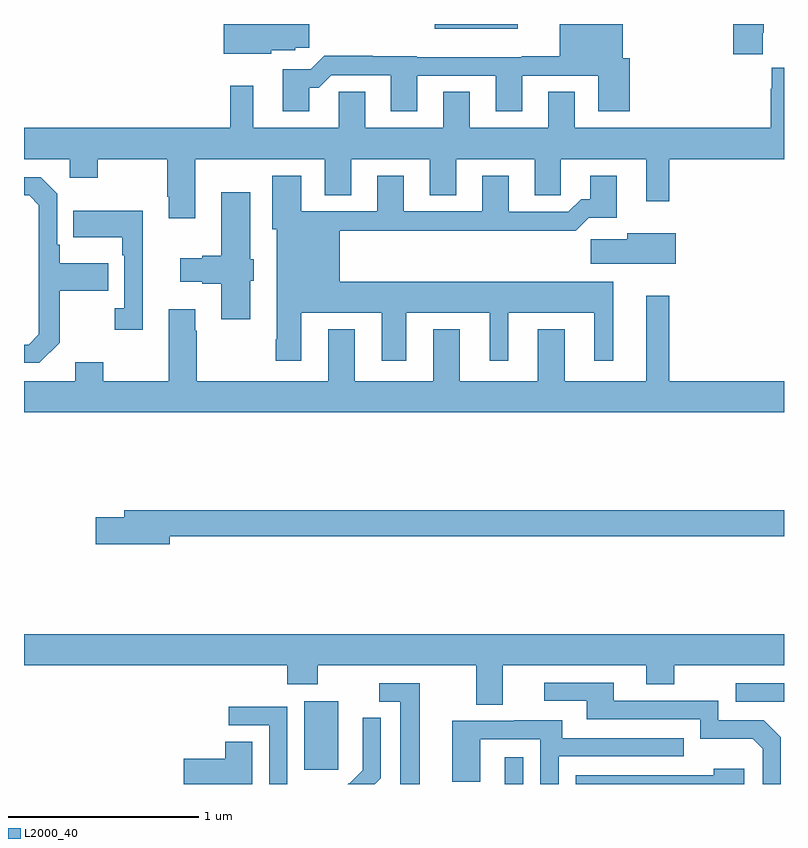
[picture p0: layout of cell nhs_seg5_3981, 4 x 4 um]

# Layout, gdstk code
import gdstk
lib = gdstk.Library(unit=1e-6, precision=1e-09)
def R(c, l, rs):  # rectangles x0, y0, x1, y1
    for r in rs: c.add(gdstk.rectangle(r[:2], r[2:], *l))
def P(c, l, *ps):  # polygons
    for p in ps: c.add(gdstk.Polygon(p, *l))
L2000_40 = (2000, 40)

nhs_seg5_3981 = lib.new_cell('nhs_seg5_3981')
R(nhs_seg5_3981, L2000_40, [(347.531,858.799,347.628,858.94), (346.475,858.873,346.654,859.234), (348.747,859.233,349,859.329), (347.162,862.775,347.599,862.799)])
P(nhs_seg5_3981, L2000_40, [(348.889,862.753),(348.894,862.753),(348.894,862.799),(348.734,862.799),(348.734,862.641),(348.889,862.641)],
  [(346.501,862.463),(346.55,862.463),(346.617,862.53),(346.931,862.53),(346.931,862.341),(347.071,862.341),(347.071,862.527),(347.483,862.527),(347.483,862.341),(347.623,862.341),(347.623,862.527),(348.023,862.527),(348.023,862.341),(348.188,862.341),(348.188,862.62),(348.151,862.62),(348.151,862.799),(347.819,862.799),(347.819,862.628),(347.619,862.628),(347.619,862.624),(347.067,862.624),(347.067,862.628),(346.835,862.628),(346.835,862.631),(346.58,862.631),(346.509,862.56),(346.361,862.56),(346.361,862.341),(346.501,862.341)],
  [(346.302,862.661),(346.428,862.661),(346.428,862.675),(346.501,862.675),(346.501,862.799),(346.052,862.799),(346.052,862.643),(346.302,862.643)],
  [(345.901,862.088),(346.583,862.088),(346.583,861.898),(346.723,861.898),(346.723,862.088),(347.135,862.088),(347.135,861.898),(347.275,861.898),(347.275,862.088),(347.687,862.088),(347.687,861.898),(347.826,861.898),(347.826,862.088),(348.275,862.088),(348.275,861.867),(348.397,861.867),(348.397,862.088),(349,862.088),(349,862.57),(348.935,862.57),(348.935,862.457),(348.929,862.457),(348.929,862.252),(347.899,862.252),(347.899,862.442),(347.759,862.442),(347.759,862.252),(347.347,862.252),(347.347,862.442),(347.207,862.442),(347.207,862.252),(346.795,862.252),(346.795,862.442),(346.656,862.442),(346.656,862.252),(346.207,862.252),(346.207,862.474),(346.086,862.474),(346.086,862.252),(345,862.252),(345,862.088),(345.24,862.088),(345.24,861.989),(345.387,861.989),(345.387,862.088),(345.754,862.088),(345.754,861.889),(345.761,861.889),(345.761,861.777),(345.901,861.777)],
  [(346.459,861.278),(346.883,861.278),(346.883,861.027),(347.011,861.027),(347.011,861.278),(347.45,861.278),(347.45,861.027),(347.548,861.027),(347.548,861.278),(348.002,861.278),(348.002,861.027),(348.1,861.027),(348.1,861.442),(346.663,861.442),(346.663,861.712),(347.647,861.712),(347.647,861.71),(347.903,861.71),(347.972,861.779),(348.121,861.779),(348.121,862),(347.981,862),(347.981,861.877),(347.932,861.877),(347.865,861.81),(347.551,861.81),(347.551,862),(347.411,862),(347.411,861.813),(346.999,861.813),(346.999,862),(346.859,862),(346.859,861.813),(346.459,861.813),(346.459,862),(346.307,862),(346.307,861.72),(346.331,861.72),(346.331,861.139),(346.324,861.139),(346.324,861.027),(346.459,861.027)],
  [(345.187,861.121),(345.187,861.394),(345.443,861.394),(345.443,861.541),(345.187,861.541),(345.187,861.637),(345.174,861.637),(345.174,861.906),(345.087,861.993),(345,861.993),(345,861.897),(345.027,861.897),(345.078,861.846),(345.078,861.165),(345.024,861.111),(345,861.111),(345,861.015),(345.081,861.015)],
  [(346.192,861.447),(346.21,861.447),(346.21,861.561),(346.192,861.561),(346.192,861.913),(346.037,861.913),(346.037,861.578),(345.938,861.578),(345.938,861.565),(345.822,861.565),(345.822,861.443),(345.938,861.443),(345.938,861.431),(346.037,861.431),(346.037,861.246),(346.192,861.246)],
  [(345.626,861.817),(345.259,861.817),(345.259,861.677),(345.516,861.677),(345.516,861.581),(345.528,861.581),(345.528,861.302),(345.477,861.302),(345.477,861.189),(345.626,861.189)],
  [(348.43,861.697),(348.176,861.697),(348.176,861.665),(347.982,861.665),(347.982,861.536),(348.43,861.536)],
  [(349,860.92),(348.397,860.92),(348.397,861.37),(348.275,861.37),(348.275,860.92),(347.845,860.92),(347.845,861.193),(347.705,861.193),(347.705,860.92),(347.293,860.92),(347.293,861.193),(347.153,861.193),(347.153,860.92),(346.741,860.92),(346.741,861.193),(346.601,861.193),(346.601,860.92),(345.909,860.92),(345.909,861.185),(345.901,861.185),(345.901,861.298),(345.761,861.298),(345.761,860.92),(345.417,860.92),(345.417,861.019),(345.269,861.019),(345.269,860.92),(345,860.92),(345,860.756),(349,860.756)],
  [(345.766,860.104),(349,860.104),(349,860.24),(345.527,860.24),(345.527,860.204),(345.378,860.204),(345.378,860.062),(345.766,860.062)],
  [(347.521,859.424),(348.275,859.424),(348.275,859.325),(348.423,859.325),(348.423,859.424),(349,859.424),(349,859.588),(345,859.588),(345,859.424),(346.385,859.424),(346.385,859.325),(346.545,859.325),(346.545,859.424),(347.381,859.424),(347.381,859.216),(347.521,859.216)],
  [(348.984,859.044),(348.894,859.134),(348.654,859.134),(348.654,859.236),(348.103,859.236),(348.103,859.332),(347.739,859.332),(347.739,859.236),(347.963,859.236),(347.963,859.14),(348.558,859.14),(348.558,859.037),(348.835,859.037),(348.888,858.984),(348.888,858.799),(348.984,858.799)],
  [(347.083,859.329),(346.869,859.329),(346.869,859.233),(346.979,859.233),(346.979,858.799),(347.083,858.799)],
  [(346.386,859.206),(346.077,859.206),(346.077,859.107),(346.29,859.107),(346.29,858.799),(346.386,858.799)],
  [(346.878,858.83),(346.878,859.148),(346.782,859.148),(346.782,858.994),(346.784,858.994),(346.784,858.872),(346.713,858.801),(346.71,858.804),(346.705,858.799),(346.847,858.799)],
  [(347.814,858.945),(348.473,858.945),(348.473,859.041),(347.833,859.041),(347.833,859.135),(347.579,859.135),(347.579,859.131),(347.255,859.131),(347.255,858.811),(347.4,858.811),(347.4,859.035),(347.718,859.035),(347.718,858.799),(347.814,858.799)],
  [(346.201,859.022),(346.058,859.022),(346.058,858.932),(345.84,858.932),(345.84,858.799),(346.201,858.799)],
  [(348.79,858.88),(348.629,858.88),(348.629,858.846),(347.904,858.846),(347.904,858.799),(348.79,858.799)])

lib.write_gds('nhs_seg5_3981.gds')
